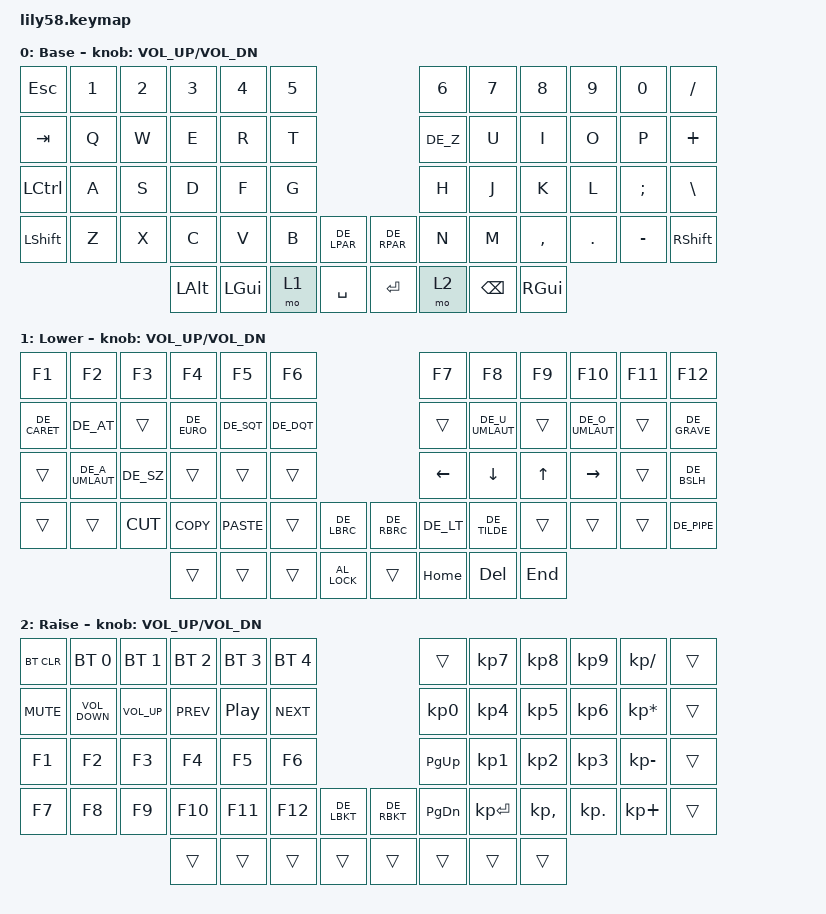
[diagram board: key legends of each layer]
/*
 * Copyright (c) 2020 The ZMK Contributors
 *
 * SPDX-License-Identifier: MIT
 */

#include <behaviors.dtsi>
#include <dt-bindings/zmk/keys.h>
#include <dt-bindings/zmk/bt.h>
#include <dt-bindings/zmk/ext_power.h>
#include <locale/keys_de.h>

/ {
    keymap {
        compatible = "zmk,keymap";

        default_layer {
// ------------------------------------------------------------------------------------------------------------
// |  ESC  |  1  |  2  |  3   |  4   |  5   |                   |  6   |  7    |  8    |  9   |   0   |   ß   |
// |  TAB  |  Q  |  W  |  E   |  R   |  T   |                   |  Z   |  U    |  I    |  O   |   P   |   +   |
// |  CTRL |  A  |  S  |  D   |  F   |  G   |                   |  H   |  J    |  K    |  L   |   #   |   /   |
// | SHIFT |  Y  |  X  |  C   |  V   |  B   |   "("  |  |  ")"  |  N   |  M    |  ,    |  .   |   -   | SHIFT |
//                     | ALT  | GUI  | LOWER|  SPACE |  | ENTER | RAISE| BSPC  | GUI   |
            display-name = "Base";
            bindings = <
&kp ESC   &kp N1    &kp N2    &kp N3      &kp N4      &kp N5                            &kp N6    &kp N7    &kp N8       &kp N9       &kp N0       &kp SLASH
&kp TAB   &kp Q     &kp W     &kp E       &kp R       &kp T                             &kp DE_Z  &kp U     &kp I        &kp O        &kp P        &kp PLUS
&kp LCTRL &kp A     &kp S     &kp D       &kp F       &kp G                             &kp H     &kp J     &kp K        &kp L        &kp SEMI  &kp BACKSLASH
&kp LSHFT &kp Z     &kp X     &kp C       &kp V       &kp B     &kp DE_LPAR &kp DE_RPAR &kp N     &kp M     &kp COMMA    &kp DOT      &kp MINUS &kp RSHFT
                              &kp LALT    &kp LGUI    &mo 1     &kp SPACE   &kp RET     &mo 2     &kp BSPC  &kp RGUI
            >;

            sensor-bindings = <&inc_dec_kp C_VOL_UP C_VOL_DN>;
        };

        lower_layer {
// -------------------------------------------------------------------------------------------------------------
// |  F1   |  F2 |  F3 |  F4  |  F5  |  F6  |                  |  F7   |  F8   |  F9   |  F10  |  F11  |  F12  |
// |  ^    |  @  |     |  €   |  '   |  "   |                  |       |  Ü    |       |  Ö    |       |   `   |
// |       |  Ä  |  ß  |      |      |      |                  |  <-   |  v    |  ^    |  ->   |       |   \   |
// |       |     | CUT | COPY | PASTE|      |  "{"  |  |  "}"  |  <    |  ~    |       |       |       |  "|"  |
//                     |      |      |      |  LOCK |  |       |  HOME |  DEL  |  END  |
            display-name = "Lower";
            bindings = <
&kp F1       &kp F2          &kp F3    &kp F4      &kp F5     &kp F6                             &kp F7    &kp F8          &kp F9  &kp F10         &kp F11 &kp F12
&kp DE_CARET &kp DE_AT       &trans    &kp DE_EURO &kp DE_SQT &kp DE_DQT                         &trans    &kp DE_U_UMLAUT &trans  &kp DE_O_UMLAUT &trans  &kp DE_GRAVE
&trans       &kp DE_A_UMLAUT &kp DE_SZ &trans      &trans     &trans                             &kp LEFT  &kp DOWN        &kp UP  &kp RIGHT       &trans  &kp DE_BSLH
&trans       &trans          &kp K_CUT &kp K_COPY  &kp K_PASTE &trans    &kp DE_LBRC &kp DE_RBRC &kp DE_LT &kp DE_TILDE    &trans  &trans          &trans  &kp DE_PIPE
                                       &trans      &trans     &trans     &kp C_AL_LOCK    &trans      &kp HOME  &kp DEL         &kp END
            >;

            sensor-bindings = <&inc_dec_kp C_VOL_UP C_VOL_DN>;
        };

        raise_layer {
// -----------------------------------------------------------------------------------------------------------
// | BTCLR | BT1         | BT2       |  BT3     |  BT4       |  BT5 |                 |           |   7   |   8   |   9   |   /   |      |
// |  MUTE | VOLUME_DOWN | VOLUME_UP | PREVIOUS | PLAY_PAUSE | NEXT |                 |   0       |   4   |   5   |   6   |   *   |      |
// |   F1  |  F2         |  F3       |  F4      |  F5        |  F6  |                 | PAGE_UP   |   1   |   2   |   3   |   -   |      |
// |   F7  |  F8         |  F9       |  F10     |  F11       |  F12 |  "[" |  |  "]"  | PAGE_DOWN | ENTER |   ,   |   .   |   +   |      |
//                       |           |          |            |      |      |  |       |           |       |
            display-name = "Raise";
            bindings = <
&bt BT_CLR &bt BT_SEL 0      &bt BT_SEL 1    &bt BT_SEL 2 &bt BT_SEL 3     &bt BT_SEL 4                         &trans    &kp KP_N7    &kp KP_N8    &kp KP_N9  &kp KP_SLASH    &trans
&kp C_MUTE &kp C_VOLUME_DOWN &kp C_VOLUME_UP &kp C_PREV   &kp C_PLAY_PAUSE &kp C_NEXT                           &kp KP_N0 &kp KP_N4    &kp KP_N5    &kp KP_N6  &kp KP_MULTIPLY &trans
&kp F1     &kp F2            &kp F3          &kp F4       &kp F5           &kp F6                               &kp PG_UP &kp KP_N1    &kp KP_N2    &kp KP_N3  &kp KP_MINUS    &trans
&kp F7     &kp F8            &kp F9          &kp F10      &kp F11          &kp F12      &kp DE_LBKT &kp DE_RBKT &kp PG_DN &kp KP_ENTER &kp KP_COMMA &kp KP_DOT &kp KP_PLUS     &trans
                                             &trans       &trans           &trans       &trans      &trans      &trans    &trans       &trans
            >;

            sensor-bindings = <&inc_dec_kp C_VOL_UP C_VOL_DN>;
        };

        extra_1 {
            status = "reserved";
        };

        extra_2 {
            status = "reserved";
        };

        extra_3 {
            status = "reserved";
        };
    };
};
